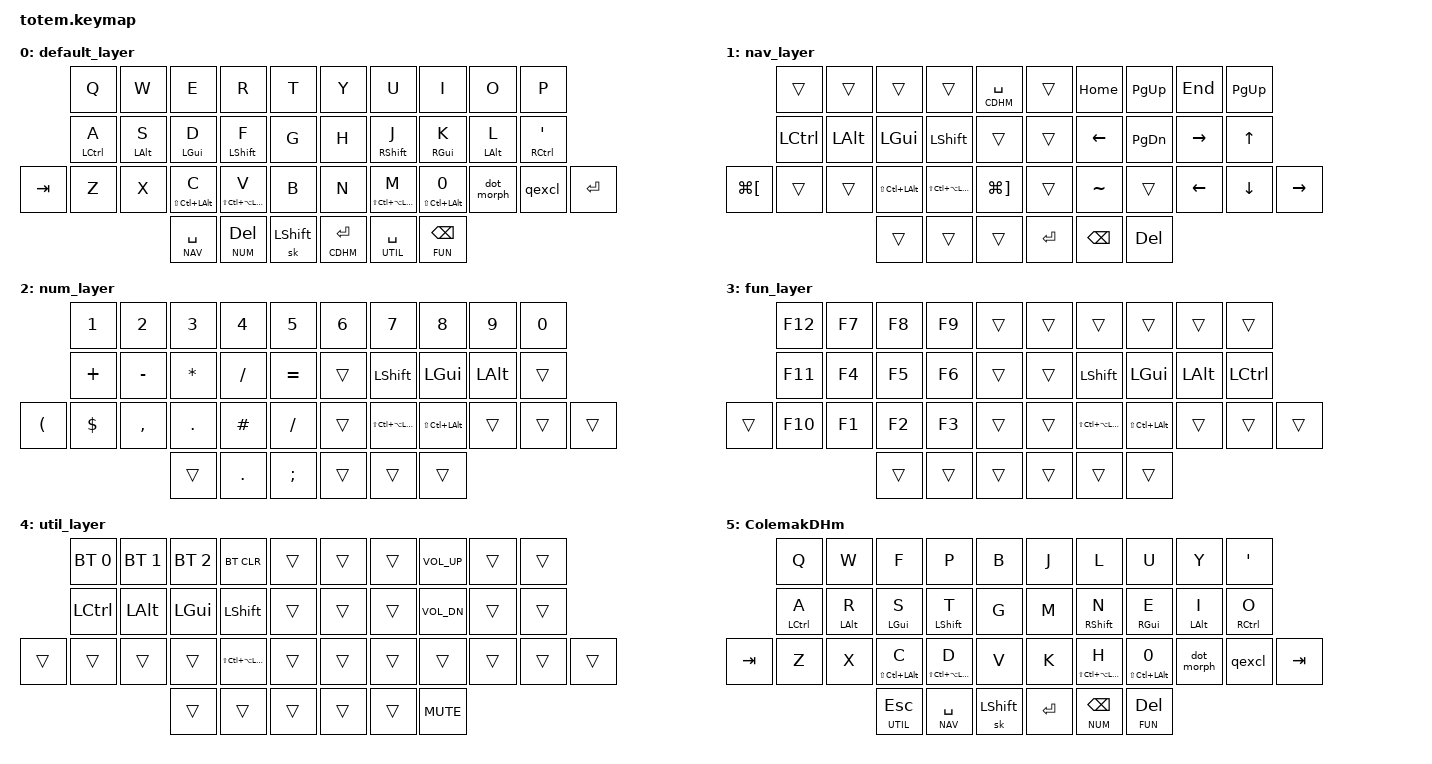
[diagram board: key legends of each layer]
// Copyright (c) 2022 The ZMK Contributors
// SPDX-License-Identifier: MIT

#include "../zmk-nodefree-config/helper.h"
#include "../zmk-nodefree-config/keypos_def/keypos_38keys.h"
#include <behaviors.dtsi>
#include <dt-bindings/zmk/keys.h>
#include <dt-bindings/zmk/bt.h>

#define XXX &none
#define TODO ___
#define ___ &trans

#define BASE 0
#define NAV 1
#define NUM 2
#define FUN 3
#define UTIL 4
#define CDHM 5

#include "combos.dtsi"

// navigation bindings for back/forward and prev tab/next tab
#define BACK &kp LG(LBKT)
#define FWD &kp LG(RBKT)

// hyper and meh keys
#define HYP LS(LC(LA(LGUI)))
#define MEH LS(LC(LALT))

/* ------------------------ general config ----------------------- */

#define QUICK_TAP_MS 175

// smart-layer config
&caps_word {  
    // /delete-property/ ignore-modifiers; // mods deactivate, requires PR #1451
    /delete-property/ ignore-numbers;
    continue-list = <BACKSPACE ENTER DELETE UNDERSCORE MINUS>;
};

// key-repeat config
&key_repeat {
    usage-pages = <HID_USAGE_KEY HID_USAGE_CONSUMER>; // repeat all keys
};

// sticky key aka 'one-shot mods'
&sk {
    release-after-ms = <2000>;
    quick-release;
};

// default layer-tap config
&lt {  
    flavor = "balanced";
    tapping-term-ms = <200>;
    quick-tap-ms = <QUICK_TAP_MS>;
};

#define KEYS_L LT0 LT1 LT2 LT3 LT4 LM0 LM1 LM2 LM3 LM4 LB0 LB1 LB2 LB3 LB4  // left hand
#define KEYS_R RT0 RT1 RT2 RT3 RT4 RM0 RM1 RM2 RM3 RM4 RB0 RB1 RB2 RB3 RB4  // right hand
#define THUMBS LH2 LH1 LH0 RH0 RH1 RH2                                      // thumbs

#define MAKE_HRM(NAME, HOLD, TAP, TRIGGER_POS) \
    ZMK_BEHAVIOR(NAME, hold_tap, \
        flavor = "balanced"; \
        tapping-term-ms = <280>; \
        quick-tap-ms = <QUICK_TAP_MS>; \
        require-prior-idle-ms = <150>; \
        bindings = <HOLD>, <TAP>; \
        hold-trigger-key-positions = <TRIGGER_POS>; \
        hold-trigger-on-release; \
    )
MAKE_HRM(hml, &kp, &kp, KEYS_R THUMBS)  // left-hand HRMs
MAKE_HRM(hmr, &kp, &kp, KEYS_L THUMBS)  // right-hand HRMs

// special HRMs for the right meh key, as it involves a modmorph
MAKE_HRM(hmr_meh, &kp, &comma_morph, KEYS_L THUMBS)
// MAKE_HRM(hmr_lpar, &kp, &lpar, KEYS_L THUMBS)    // "    "   "   "
// MAKE_HRM(hmr_rpar, &kp, &rpar, KEYS_L THUMBS)    // "    "   "   "

// mod_morph keys
// tap: qmark | shift + tap: excl
ZMK_BEHAVIOR(qexcl, mod_morph,
    bindings = <&kp QMARK>, <&kp EXCL>;
    mods = <(MOD_LSFT|MOD_RSFT)>;
)

// tap: comma | shift + tap: semicolon 
ZMK_BEHAVIOR(comma_morph, mod_morph,
    bindings = <&kp COMMA>, <&kp SEMICOLON>;
    mods = <(MOD_LSFT|MOD_RSFT)>;
)

// tap: dot | shift + tap: colon 
ZMK_BEHAVIOR(dot_morph, mod_morph,
    bindings = <&kp DOT>, <&kp COLON>;
    mods = <(MOD_LSFT|MOD_RSFT)>;
)

/ {
// TODO: Add hyper key as HRM
    keymap {
        compatible = "zmk,keymap";
        default_layer { // BASE
            bindings = <
            &kp Q         &kp W         &kp E            &kp R            &kp T              &kp Y         &kp U              &kp I            &kp O         &kp P 
            &hml LCTRL A  &hml LALT S   &hml LGUI D      &hml LSHFT F     &kp G              &kp H         &hmr RSHFT J       &hmr RGUI K      &hmr LALT L   &hmr RCTRL APOS
&kp TAB     &kp Z         &kp X         &hml MEH C       &hml HYP V       &kp B              &kp N         &hmr HYP M         &hmr_meh MEH 0   &dot_morph    &qexcl        &kp RET
                                        &lt NAV SPACE   &lt NUM DEL    &sk LSHFT          &lt CDHM RET       &lt UTIL SPACE       &lt FUN BSPC
            >;
        };
        nav_layer { 
            bindings = <
            ___          ___          ___             ___             &lt CDHM SPACE    ___           &kp HOME          &kp PAGE_UP          &kp END       &kp PAGE_UP 
            &kp LCTRL     &kp LALT     &kp LGUI       &kp LSHFT       ___               ___           &kp LEFT          &kp PAGE_DOWN        &kp RIGHT     &kp UP
    BACK    ___           ___          &kp MEH         &kp HYP        FWD               ___           &kp TILDE         ___                  &kp LEFT      &kp DOWN       &kp RIGHT
                                       ___            ___             ___                &kp RET       &kp BSPC          &kp DEL
            >;
        }; 
        num_layer {
            bindings = <
            &kp N1       &kp N2       &kp N3          &kp N4          &kp N5             &kp N6        &kp N7            &kp  N8         &kp N9        &kp N0 
            &kp PLUS     &kp MINUS    &kp STAR        &kp FSLH        &kp EQUAL          ___           &kp LSHFT         &kp LGUI        &kp LALT      ___
  &kp LPAR  &kp DOLLAR   &kp COMMA    &kp DOT         &kp HASH        &kp FSLH           ___           &kp HYP           &kp MEH         ___           ___             ___
                                      ___             &kp DOT         &kp SEMI           ___           ___               ___
            >;
        };
        fun_layer {
            bindings = <
            &kp F12      &kp F7       &kp F8          &kp F9          ___                ___           ___               ___             ___           ___
            &kp F11      &kp F4       &kp F5          &kp F6          ___                ___           &kp LSHFT         &kp LGUI        &kp LALT      &kp LCTRL 
    ___     &kp F10      &kp F1       &kp F2          &kp F3          ___                ___           &kp HYP           &kp MEH         ___           ___             ___
                                      ___             ___             ___                ___           ___               ___
            >;
        };
        util_layer {
            bindings = <
            &bt BT_SEL 0 &bt BT_SEL 1 &bt BT_SEL 2    &bt BT_CLR      ___                ___           ___               &kp C_VOL_UP    ___           ___
            &kp LCTRL     &kp LALT     &kp LGUI       &kp LSHFT      ___                ___           ___                &kp C_VOL_DN    ___           ___ 
    ___     ___          ___          ___             &kp HYP        ___                ___           ___               ___             ___           ___             ___
                                      ___             ___             ___                ___           ___               &kp C_MUTE
            >;
        };  
    ColemakDHm {
            bindings = <
            &kp Q         &kp W         &kp F            &kp P            &kp B              &kp J         &kp L              &kp U            &kp Y         &kp APOS 
            &hml LCTRL A  &hml LALT R   &hml LGUI S      &hml LSHFT T     &kp G              &kp M         &hmr RSHFT N       &hmr RGUI E      &hmr LALT I   &hmr RCTRL O
&kp TAB    &kp Z         &kp X         &hml MEH C       &hml HYP D       &kp V              &kp K         &hmr HYP H         &hmr_meh MEH 0   &dot_morph    &qexcl        &kp TAB
                                        &lt UTIL ESC     &lt NAV SPACE    &sk LSHFT          &kp RET       &lt NUM BSPC       &lt FUN DEL
            >;
        };
    };
};
    
/* --------------------------------- combos --------------------------------- */
/*
   ╭────────────────────┬────────────────────╮     ╭─────────────────────┬─────────────────────╮
   │  0   1   2   3   4 │  5   6   7   8   9 │     │ LT4 LT3 LT2 LT1 LT0 │ RT0 RT1 RT2 RT3 RT4 │
   │ 10  11  12  13  14 │ 15  16  17  18  19 │     │ LM4 LM3 LM2 LM1 LM0 │ RM0 RM1 RM2 RM3 RM4 │
  20 21  22  23  24  25 │ 26  27  28  29  30 31  LB5 LB4 LB3 LB2 LB1 LB0 │ RB0 RB1 RB2 RB3 RB4 RB5
   ╰───────╮ 32  33  34 │ 35  36  37 ╭───────╯     ╰───────╮ LH2 LH1 LH0 │ RH0 RH1 RH2 ╭───────╯
           ╰────────────┴────────────╯                     ╰─────────────┴─────────────╯             */
// use global-quick-tap-ms for combos (requires PR 1387)
